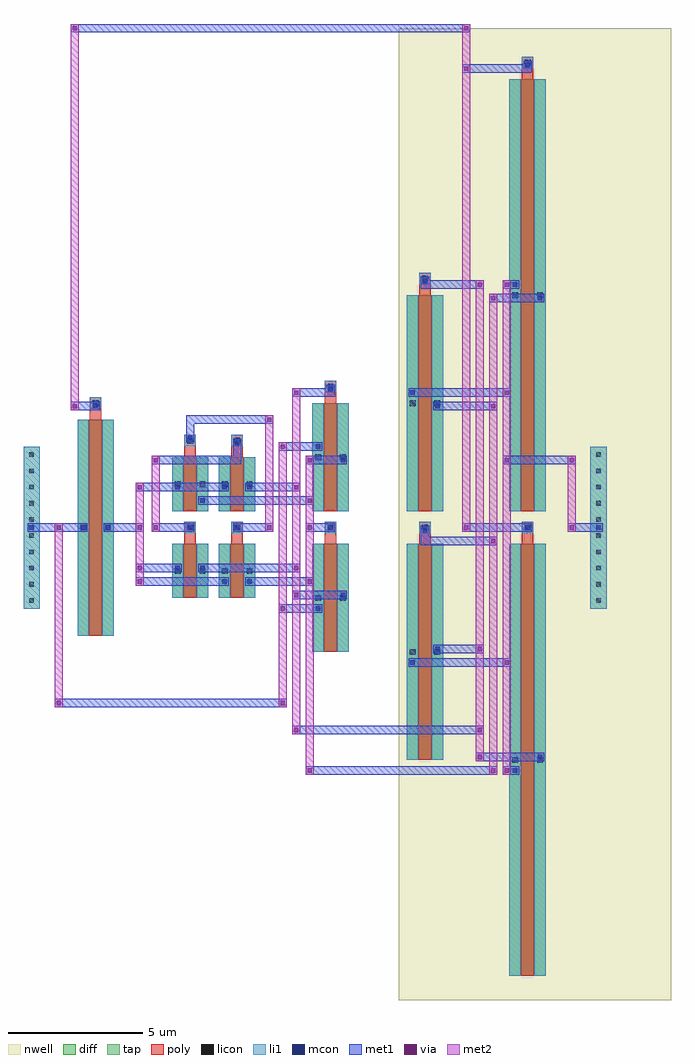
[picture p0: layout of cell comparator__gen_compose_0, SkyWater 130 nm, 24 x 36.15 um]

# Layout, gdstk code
import gdstk
lib = gdstk.Library(unit=1e-6, precision=1e-09)
def R(c, l, rs):  # rectangles x0, y0, x1, y1
    for r in rs: c.add(gdstk.rectangle(r[:2], r[2:], *l))
def A(c, l, x, y, w, h, nx, ny, dx, dy):  # array of equal rectangles
    R(c, l, [(x+i*dx, y+j*dy, x+i*dx+w, y+j*dy+h) for i in range(nx) for j in range(ny)])
nwell = (64, 20)
diff = (65, 20)
tap = (65, 44)
poly = (66, 20)
licon = (66, 44)
li1 = (67, 20)
mcon = (67, 44)
met1 = (68, 20)
via = (68, 44)
met2 = (69, 20)

route__route_1 = lib.new_cell('route__ROUTE$1')
R(route__route_1, nwell, [(13.9,2.5,24,38.5)])
R(route__route_1, tap, [(0,17,0.6,23), (21,17,21.6,23)])
A(route__route_1, licon, 0.215, 17.215, 0.17, 0.17, 1, 10, 0, 0.6)
A(route__route_1, licon, 21.215, 17.215, 0.17, 0.17, 1, 10, 0, 0.6)
R(route__route_1, li1, [(0,17,0.6,23), (21,17,21.6,23)])
R(route__route_1, mcon, [(18.125,10.915,18.295,11.085), (19.045,11.415,19.215,11.585), (14.325,14.915,14.495,15.085), (15.245,15.415,15.415,15.585), (10.825,16.915,10.995,17.085), (11.745,17.415,11.915,17.585), (7.365,17.915,7.535,18.085), (8.285,17.915,8.455,18.085), (5.625,18.415,5.795,18.585), (6.545,18.415,6.715,18.585), (14.785,19.825,14.955,19.995), (0.215,19.915,0.385,20.085), (2.125,19.915,2.295,20.085), (3.045,19.915,3.215,20.085), (6.085,19.915,6.255,20.085), (7.825,19.915,7.995,20.085), (11.285,19.915,11.455,20.085), (18.585,19.915,18.755,20.085), (21.215,19.915,21.385,20.085), (6.545,20.915,6.715,21.085), (5.625,21.415,5.795,21.585), (7.365,21.415,7.535,21.585), (8.285,21.415,8.455,21.585), (11.745,22.415,11.915,22.585), (10.825,22.915,10.995,23.085), (7.825,23.045,7.995,23.215), (6.085,23.225,6.255,23.395), (15.245,24.415,15.415,24.585), (2.585,24.435,2.755,24.605), (14.325,24.915,14.495,25.085), (11.285,25.045,11.455,25.215), (19.045,28.415,19.215,28.585), (18.125,28.915,18.295,29.085), (14.785,29.045,14.955,29.215), (18.585,37.045,18.755,37.215)])
R(route__route_1, met1, [(10.45,10.85,17.55,11.15), (17.75,10.85,18.36,11.15), (18.06,10.85,18.36,11.15), (16.75,11.35,19.28,11.65), (18.98,11.35,19.28,11.65), (9.95,12.35,17.05,12.65), (1.15,13.35,9.75,13.65), (14.26,14.85,14.56,15.15), (14.26,14.85,18.05,15.15), (15.18,15.35,15.48,15.65), (15.18,15.35,17.05,15.65), (9.45,16.85,11.06,17.15), (10.76,16.85,11.06,17.15), (9.95,17.35,11.98,17.65), (11.68,17.35,11.98,17.65), (4.15,17.85,7.6,18.15), (7.3,17.85,7.6,18.15), (8.22,17.85,8.52,18.15), (8.22,17.85,10.75,18.15), (4.15,18.35,5.86,18.65), (5.56,18.35,5.86,18.65), (6.48,18.35,6.78,18.65), (6.48,18.35,10.25,18.65), (14.72,19.35,15.02,20.06), (14.72,19.35,17.55,19.65), (14.72,19.76,15.02,20.06), (0.15,19.85,0.45,20.15), (0.15,19.85,1.45,20.15), (1.15,19.85,2.36,20.15), (2.06,19.85,2.36,20.15), (2.98,19.85,3.28,20.15), (2.98,19.85,4.45,20.15), (4.75,19.85,6.32,20.15), (6.02,19.85,6.32,20.15), (7.76,19.85,8.06,20.15), (7.76,19.85,9.25,20.15), (10.45,19.85,11.52,20.15), (11.22,19.85,11.52,20.15), (16.25,19.85,18.82,20.15), (18.52,19.85,18.82,20.15), (20.15,19.85,21.45,20.15), (21.15,19.85,21.45,20.15), (6.48,20.85,6.78,21.15), (6.48,20.85,10.75,21.15), (4.15,21.35,5.86,21.65), (4.15,21.35,7.6,21.65), (5.56,21.35,5.86,21.65), (7.3,21.35,7.6,21.65), (8.22,21.35,8.52,21.65), (8.22,21.35,10.25,21.65), (4.75,22.35,8.06,22.65), (7.76,22.35,8.06,23.28), (10.45,22.35,11.98,22.65), (11.68,22.35,11.98,22.65), (17.75,22.35,20.45,22.65), (9.45,22.85,11.06,23.15), (10.76,22.85,11.06,23.15), (7.76,22.98,8.06,23.28), (6.02,23.16,6.32,23.46), (6.02,23.16,6.32,24.15), (6.02,23.85,9.25,24.15), (1.75,24.35,2.82,24.65), (2.52,24.35,2.82,24.67), (15.18,24.35,15.48,24.65), (15.18,24.35,17.55,24.65), (2.52,24.37,2.82,24.67), (9.95,24.85,11.52,25.15), (11.22,24.85,11.52,25.28), (14.26,24.85,14.56,25.15), (14.26,24.85,18.05,25.15), (11.22,24.98,11.52,25.28), (17.25,28.35,19.28,28.65), (18.98,28.35,19.28,28.65), (14.72,28.85,15.02,29.28), (14.72,28.85,17.05,29.15), (17.75,28.85,18.36,29.15), (18.06,28.85,18.36,29.15), (14.72,28.98,15.02,29.28), (16.25,36.85,18.82,37.15), (18.52,36.85,18.82,37.28), (18.52,36.98,18.82,37.28), (1.75,38.35,16.55,38.65)])
A(route__route_1, via, 4.225, 18.425, 0.15, 0.15, 1, 3, 0, 1.5)
R(route__route_1, via, [(10.525,10.925,10.675,11.075), (17.325,10.925,17.475,11.075), (17.825,10.925,17.975,11.075), (16.825,11.425,16.975,11.575), (10.025,12.425,10.175,12.575), (16.825,12.425,16.975,12.575), (1.225,13.425,1.375,13.575), (9.525,13.425,9.675,13.575), (17.825,14.925,17.975,15.075), (16.825,15.425,16.975,15.575), (9.525,16.925,9.675,17.075), (10.025,17.425,10.175,17.575), (4.225,17.925,4.375,18.075), (10.525,17.925,10.675,18.075), (10.025,18.425,10.175,18.575), (17.325,19.425,17.475,19.575), (1.225,19.925,1.375,20.075), (1.225,19.925,1.375,20.075), (4.825,19.925,4.975,20.075), (9.025,19.925,9.175,20.075), (10.525,19.925,10.675,20.075), (16.325,19.925,16.475,20.075), (20.225,19.925,20.375,20.075), (10.525,20.925,10.675,21.075), (4.225,21.425,4.375,21.575), (10.025,21.425,10.175,21.575), (4.825,22.425,4.975,22.575), (10.525,22.425,10.675,22.575), (17.825,22.425,17.975,22.575), (20.225,22.425,20.375,22.575), (9.525,22.925,9.675,23.075), (9.025,23.925,9.175,24.075), (1.825,24.425,1.975,24.575), (17.325,24.425,17.475,24.575), (10.025,24.925,10.175,25.075), (17.825,24.925,17.975,25.075), (17.325,28.425,17.475,28.575), (16.825,28.925,16.975,29.075), (17.825,28.925,17.975,29.075), (16.325,36.925,16.475,37.075), (1.825,38.425,1.975,38.575), (16.325,38.425,16.475,38.575)])
R(route__route_1, met2, [(10.45,10.85,10.75,22.65), (17.25,10.85,17.55,28.65), (17.75,10.85,18.05,29.15), (16.75,11.35,17.05,29.15), (9.95,12.35,10.25,25.15), (1.15,13.35,1.45,20.15), (9.45,13.35,9.75,23.15), (4.15,17.85,4.45,21.65), (4.75,19.85,5.05,22.65), (8.95,19.85,9.25,24.15), (16.25,19.85,16.55,38.65), (20.15,19.85,20.45,22.65), (1.75,24.35,2.05,38.65)])
route__route_1.add(gdstk.Label('VINN', (4.9,20), layer=68, texttype=5))
route__route_1.add(gdstk.Label('VINP', (9.1,20), layer=68, texttype=5))
route__route_1.add(gdstk.Label('CLK', (1.9,24.5), layer=68, texttype=5))
route__route_1.add(gdstk.Label('OUTP', (10.1,18.5), layer=68, texttype=5))
route__route_1.add(gdstk.Label('OUTN', (10.6,18), layer=68, texttype=5))
route__route_1.add(gdstk.Label('GND', (1.3,20), layer=68, texttype=5))
route__route_1.add(gdstk.Label('VDD', (17.9,15), layer=68, texttype=5))

diff_pair_3 = lib.new_cell('diff_pair$3')
R(diff_pair_3, nwell, [(-0.15,-0.15,1.49,34.19)])
R(diff_pair_3, diff, [(0,0,1.34,16), (0,17.22,1.34,33.22)])
R(diff_pair_3, poly, [(0.42,0,0.92,16), (0.46,16,0.88,16.82), (0.42,17.22,0.92,33.22), (0.46,33.22,0.88,34.04)])
R(diff_pair_3, licon, [(0.1,7.89,0.32,8.11), (1.02,7.89,1.24,8.11), (0.56,16.5,0.78,16.72), (0.1,25.11,0.32,25.33), (1.02,25.11,1.24,25.33), (0.56,33.72,0.78,33.94)])
R(diff_pair_3, li1, [(0,0,0.42,16), (0.92,0,1.34,16), (0.46,16.4,0.88,16.82), (0,17.22,0.42,33.22), (0.92,17.22,1.34,33.22), (0.46,33.62,0.88,34.04)])

rst__rst = lib.new_cell('rst__RST')
rst__rst.add(gdstk.Reference(diff_pair_3, (0,0)))

diff_pair_2 = lib.new_cell('diff_pair$2')
R(diff_pair_2, nwell, [(-0.15,-0.15,1.49,18.19)])
R(diff_pair_2, diff, [(0,0,1.34,8), (0,9.22,1.34,17.22)])
R(diff_pair_2, poly, [(0.42,0,0.92,8), (0.46,8,0.88,8.82), (0.42,9.22,0.92,17.22), (0.46,17.22,0.88,18.04)])
R(diff_pair_2, licon, [(0.1,3.89,0.32,4.11), (1.02,3.89,1.24,4.11), (0.56,8.5,0.78,8.72), (0.1,13.11,0.32,13.33), (1.02,13.11,1.24,13.33), (0.56,17.72,0.78,17.94)])
R(diff_pair_2, li1, [(0,0,0.42,8), (0.92,0,1.34,8), (0.46,8.4,0.88,8.82), (0,9.22,0.42,17.22), (0.92,9.22,1.34,17.22), (0.46,17.62,0.88,18.04)])

latp__latp = lib.new_cell('latp__LATP')
latp__latp.add(gdstk.Reference(diff_pair_2, (0,0)))

diff_pair_1 = lib.new_cell('diff_pair$1')
R(diff_pair_1, diff, [(0,0,1.34,4), (0,5.22,1.34,9.22)])
R(diff_pair_1, poly, [(0.42,0,0.92,4), (0.46,4,0.88,4.82), (0.42,5.22,0.92,9.22), (0.46,9.22,0.88,10.04)])
R(diff_pair_1, licon, [(0.1,1.89,0.32,2.11), (1.02,1.89,1.24,2.11), (0.56,4.5,0.78,4.72), (0.1,7.11,0.32,7.33), (1.02,7.11,1.24,7.33), (0.56,9.72,0.78,9.94)])
R(diff_pair_1, li1, [(0,0,0.42,4), (0.92,0,1.34,4), (0.46,4.4,0.88,4.82), (0,5.22,0.42,9.22), (0.92,5.22,1.34,9.22), (0.46,9.62,0.88,10.04)])

latn__latn = lib.new_cell('latn__LATN')
latn__latn.add(gdstk.Reference(diff_pair_1, (0,0)))

diff_pair = lib.new_cell('diff_pair')
R(diff_pair, diff, [(0,0,1.34,2), (1.74,0,3.08,2), (0,3.22,1.34,5.22), (1.74,3.22,3.08,5.22)])
R(diff_pair, poly, [(0.42,0,0.92,2), (2.16,0,2.66,2), (0.46,2,0.88,2.82), (2.2,2,2.62,2.82), (0.42,3.22,0.92,5.22), (2.16,3.22,2.66,5.22), (0.46,5.22,0.88,6.04), (2.2,5.22,2.62,6.04)])
R(diff_pair, licon, [(0.1,0.89,0.32,1.11), (1.02,0.89,1.24,1.11), (1.84,0.89,2.06,1.11), (2.76,0.89,2.98,1.11), (0.56,2.5,0.78,2.72), (2.3,2.5,2.52,2.72), (0.1,4.11,0.32,4.33), (1.02,4.11,1.24,4.33), (1.84,4.11,2.06,4.33), (2.76,4.11,2.98,4.33), (0.56,5.72,0.78,5.94), (2.3,5.72,2.52,5.94)])
R(diff_pair, li1, [(0,0,0.42,2), (0.92,0,1.34,2), (1.74,0,2.16,2), (2.66,0,3.08,2), (0.46,2.4,0.88,2.82), (2.2,2.4,2.62,2.82), (0,3.22,0.42,5.22), (0.92,3.22,1.34,5.22), (1.74,3.22,2.16,5.22), (2.66,3.22,3.08,5.22), (0.46,5.62,0.88,6.04), (2.2,5.62,2.62,6.04)])

inpair__inpair = lib.new_cell('inpair__INPAIR')
inpair__inpair.add(gdstk.Reference(diff_pair, (0,0)))

mos_array_20 = lib.new_cell('mos_array$20')
R(mos_array_20, diff, [(0,0,1.34,8)])
R(mos_array_20, poly, [(0.42,0,0.92,8), (0.46,8,0.88,8.82)])
R(mos_array_20, licon, [(0.1,3.89,0.32,4.11), (1.02,3.89,1.24,4.11), (0.56,8.5,0.78,8.72)])
R(mos_array_20, li1, [(0,0,0.42,8), (0.92,0,1.34,8), (0.46,8.4,0.88,8.82)])

tail__tail = lib.new_cell('tail__TAIL')
tail__tail.add(gdstk.Reference(mos_array_20, (0,0)))

comparator__gen_compose_ = lib.new_cell('comparator__gen_compose_0')
comparator__gen_compose_.add(gdstk.Reference(route__route_1, (0,0)))
comparator__gen_compose_.add(gdstk.Reference(rst__rst, (18,3.39)))
comparator__gen_compose_.add(gdstk.Reference(latp__latp, (14.2,11.39)))
comparator__gen_compose_.add(gdstk.Reference(latn__latn, (10.7,15.39)))
comparator__gen_compose_.add(gdstk.Reference(inpair__inpair, (5.5,17.39)))
comparator__gen_compose_.add(gdstk.Reference(tail__tail, (2,16)))

lib.write_gds('comparator__gen_compose_0.gds')
